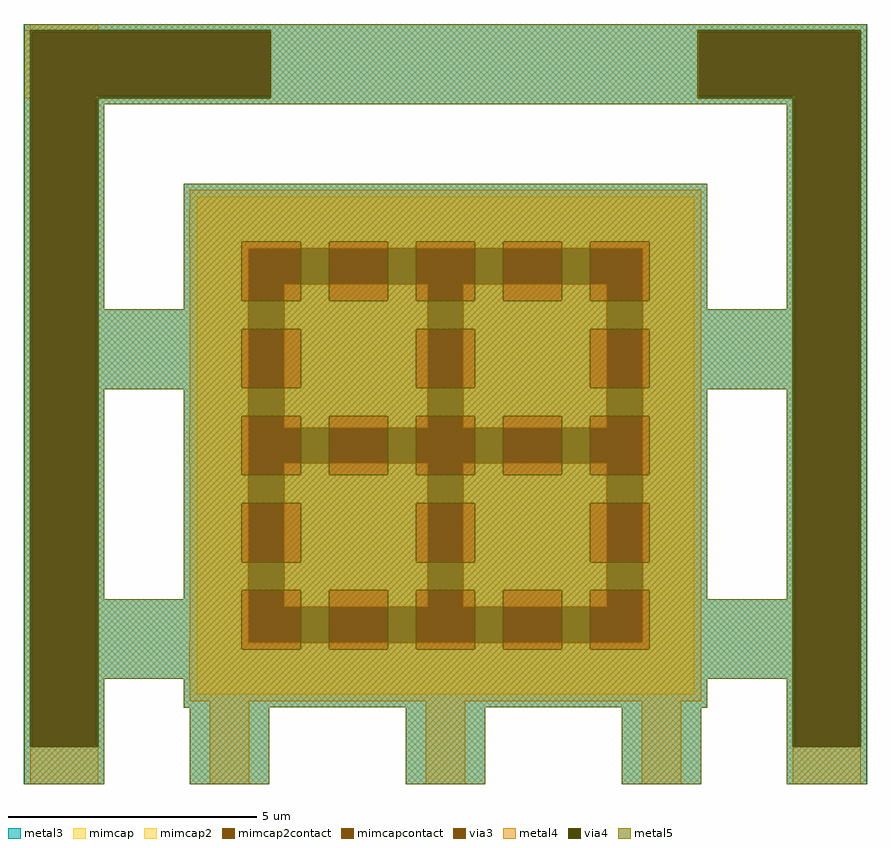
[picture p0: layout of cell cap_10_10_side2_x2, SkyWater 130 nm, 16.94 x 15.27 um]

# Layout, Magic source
magic
tech sky130B
magscale 1 2
<< metal3 >>
rect -710 2655 2678 2688
rect -710 -217 -677 2655
rect 281 2397 1997 2655
rect -419 2366 2387 2397
rect -419 1541 -388 2366
rect -68 1541 2036 2046
rect 2356 1541 2387 2366
rect -419 1221 2387 1541
rect -419 376 -388 1221
rect -68 376 2036 1221
rect 2356 376 2387 1221
rect -419 56 2387 376
rect -419 -217 -388 56
rect -68 -58 2036 56
rect -68 -60 276 -58
rect -710 -366 -388 -217
rect -44 -366 276 -60
rect 824 -366 1144 -58
rect 1692 -60 2036 -58
rect 1692 -366 2012 -60
rect 2356 -217 2387 56
rect 2645 -217 2678 2655
rect 2356 -366 2678 -217
<< via3 >>
rect -677 2397 281 2655
rect 1997 2397 2645 2655
rect -677 -217 -419 2397
rect 2387 -217 2645 2397
<< mimcap >>
rect -16 1786 1984 1994
rect -16 202 192 1786
rect 336 1066 912 1642
rect 1056 1066 1632 1642
rect 336 346 912 922
rect 1056 346 1632 922
rect 1776 202 1984 1786
rect -16 -6 1984 202
<< mimcapcontact >>
rect 192 1642 1776 1786
rect 192 1066 336 1642
rect 912 1066 1056 1642
rect 1632 1066 1776 1642
rect 192 922 1776 1066
rect 192 346 336 922
rect 912 346 1056 922
rect 1632 346 1776 922
rect 192 202 1776 346
<< metal4 >>
rect -685 2662 -412 2686
rect -708 2389 -684 2662
rect 281 2390 282 2662
rect 1996 2390 1997 2662
rect -44 1942 2012 2022
rect -45 1786 2012 1942
rect -45 1782 192 1786
rect -44 1074 192 1782
rect -45 914 192 1074
rect 336 1066 912 1642
rect 1056 1066 1632 1642
rect -44 206 192 914
rect 336 346 912 922
rect 1056 346 1632 922
rect -45 202 192 206
rect 1776 202 2012 1786
rect -45 46 2012 202
rect -44 -34 2012 46
rect -684 -366 -412 -217
rect 36 -366 196 -34
rect 904 -366 1064 -34
rect 1772 -366 1932 -34
rect 2380 -366 2652 -217
<< via4 >>
rect -684 2655 281 2662
rect -684 -217 -677 2655
rect -677 2397 281 2655
rect -677 -217 -419 2397
rect -419 2390 281 2397
rect 1997 2655 2652 2662
rect 1997 2397 2645 2655
rect 1997 2390 2387 2397
rect -419 -217 -412 2390
rect 2380 -217 2387 2390
rect 2387 -217 2645 2397
rect 2645 -217 2652 2655
<< mimcap2 >>
rect -16 1812 1984 1994
rect -16 1576 166 1812
rect 402 1576 516 1812
rect 752 1576 866 1812
rect 1102 1576 1216 1812
rect 1452 1576 1566 1812
rect 1802 1576 1984 1812
rect -16 1462 1984 1576
rect -16 1226 166 1462
rect 402 1226 866 1462
rect 1102 1226 1566 1462
rect 1802 1226 1984 1462
rect -16 1112 1984 1226
rect -16 876 166 1112
rect 402 876 516 1112
rect 752 876 866 1112
rect 1102 876 1216 1112
rect 1452 876 1566 1112
rect 1802 876 1984 1112
rect -16 762 1984 876
rect -16 526 166 762
rect 402 526 866 762
rect 1102 526 1566 762
rect 1802 526 1984 762
rect -16 412 1984 526
rect -16 176 166 412
rect 402 176 516 412
rect 752 176 866 412
rect 1102 176 1216 412
rect 1452 176 1566 412
rect 1802 176 1984 412
rect -16 -6 1984 176
<< mimcap2contact >>
rect 166 1576 402 1812
rect 516 1576 752 1812
rect 866 1576 1102 1812
rect 1216 1576 1452 1812
rect 1566 1576 1802 1812
rect 166 1226 402 1462
rect 866 1226 1102 1462
rect 1566 1226 1802 1462
rect 166 876 402 1112
rect 516 876 752 1112
rect 866 876 1102 1112
rect 1216 876 1452 1112
rect 1566 876 1802 1112
rect 166 526 402 762
rect 866 526 1102 762
rect 1566 526 1802 762
rect 166 176 402 412
rect 516 176 752 412
rect 866 176 1102 412
rect 1216 176 1452 412
rect 1566 176 1802 412
<< metal5 >>
rect -708 2662 2676 2686
rect -708 -217 -684 2662
rect 281 2390 1997 2662
rect -412 2366 2380 2390
rect -412 1541 -388 2366
rect -68 1812 2036 2046
rect -68 1576 166 1812
rect 402 1576 516 1812
rect 752 1576 866 1812
rect 1102 1576 1216 1812
rect 1452 1576 1566 1812
rect 1802 1576 2036 1812
rect -68 1541 2036 1576
rect 2356 1541 2380 2366
rect -412 1462 2380 1541
rect -412 1226 166 1462
rect 402 1226 866 1462
rect 1102 1226 1566 1462
rect 1802 1226 2380 1462
rect -412 1221 2380 1226
rect -412 376 -388 1221
rect -68 1112 2036 1221
rect -68 876 166 1112
rect 402 876 516 1112
rect 752 876 866 1112
rect 1102 876 1216 1112
rect 1452 876 1566 1112
rect 1802 876 2036 1112
rect -68 762 2036 876
rect -68 526 166 762
rect 402 526 866 762
rect 1102 526 1566 762
rect 1802 526 2036 762
rect -68 412 2036 526
rect -68 376 166 412
rect -412 176 166 376
rect 402 176 516 412
rect 752 176 866 412
rect 1102 176 1216 412
rect 1452 176 1566 412
rect 1802 376 2036 412
rect 2356 376 2380 1221
rect 1802 176 2380 376
rect -412 56 2380 176
rect -412 -217 -388 56
rect -68 -58 2036 56
rect -68 -60 276 -58
rect -708 -366 -388 -217
rect -44 -366 276 -60
rect 824 -366 1144 -58
rect 1692 -60 2036 -58
rect 1692 -366 2012 -60
rect 2356 -217 2380 56
rect 2652 -217 2676 2662
rect 2356 -366 2676 -217
<< end >>
